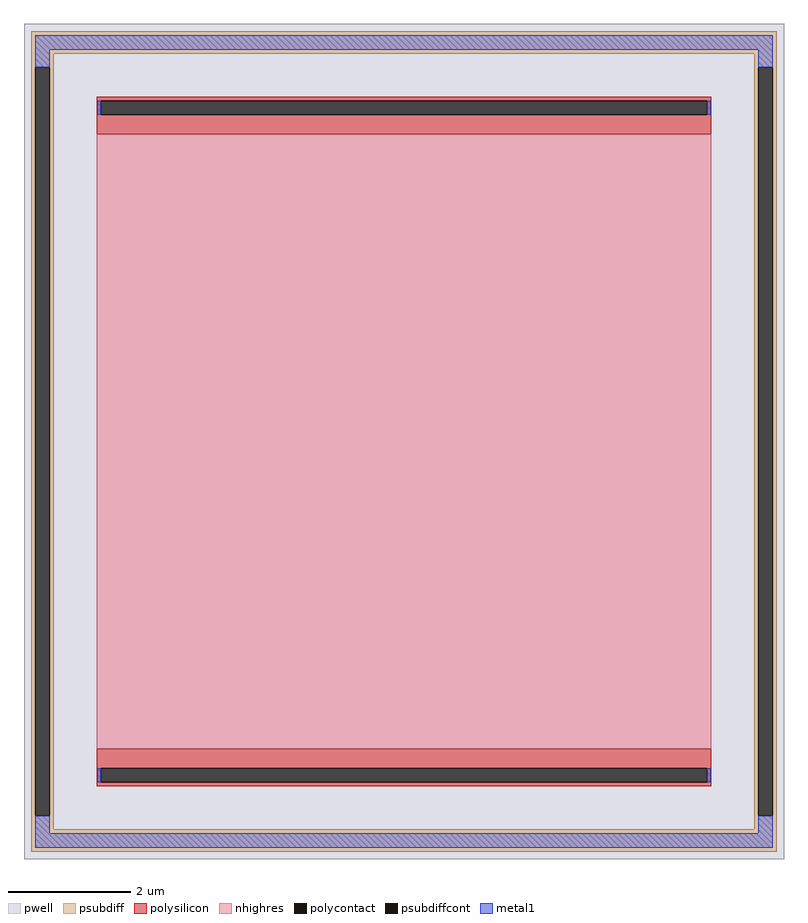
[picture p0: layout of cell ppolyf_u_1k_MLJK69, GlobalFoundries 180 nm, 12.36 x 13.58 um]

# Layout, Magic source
magic
tech gf180mcuD
magscale 1 10
<< pwell >>
rect -1236 -1358 1236 1358
<< psubdiff >>
rect -1212 1262 1212 1334
rect -1212 1218 -1140 1262
rect -1212 -1218 -1199 1218
rect -1153 -1218 -1140 1218
rect 1140 1218 1212 1262
rect -1212 -1262 -1140 -1218
rect 1140 -1218 1153 1218
rect 1199 -1218 1212 1218
rect 1140 -1262 1212 -1218
rect -1212 -1334 1212 -1262
<< psubdiffcont >>
rect -1199 -1218 -1153 1218
rect 1153 -1218 1199 1218
<< polysilicon >>
rect -1000 1109 1000 1122
rect -1000 1063 -987 1109
rect 987 1063 1000 1109
rect -1000 1000 1000 1063
rect -1000 -1063 1000 -1000
rect -1000 -1109 -987 -1063
rect 987 -1109 1000 -1063
rect -1000 -1122 1000 -1109
<< polycontact >>
rect -987 1063 987 1109
rect -987 -1109 987 -1063
<< nhighres >>
rect -1000 -1000 1000 1000
<< metal1 >>
rect -1199 1275 1199 1321
rect -1199 1218 -1153 1275
rect 1153 1218 1199 1275
rect -998 1063 -987 1109
rect 987 1063 998 1109
rect -998 -1109 -987 -1063
rect 987 -1109 998 -1063
rect -1199 -1275 -1153 -1218
rect 1153 -1275 1199 -1218
rect -1199 -1321 1199 -1275
<< properties >>
string FIXED_BBOX -1176 -1298 1176 1298
string gencell ppolyf_u_1k
string library gf180mcu
string parameters w 10.0 l 10.0 m 1 nx 1 wmin 1.000 lmin 1.000 class resistor rho 1000 val 1.0k dummy 0 dw 0.0 term 0.0 sterm 0.0 caplen 0.4 snake 0 glc 1 grc 1 gtc 0 gbc 0 roverlap 0 endcov 100 full_metal 1 compatible {ppolyf_u_1k ppolyf_u_1k_6p0}
<< end >>
